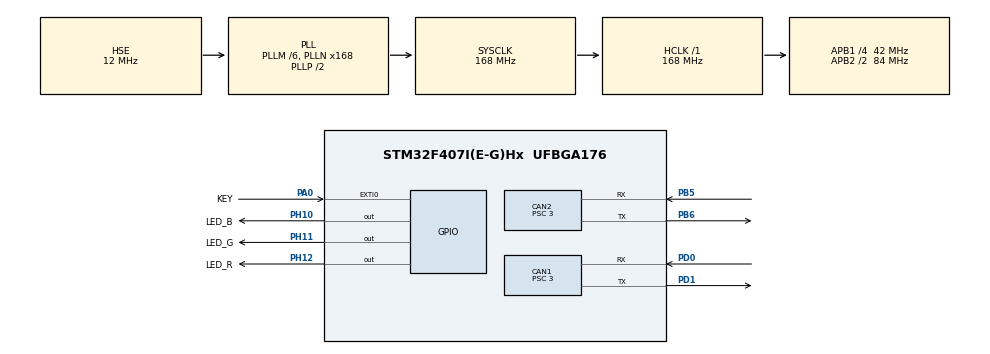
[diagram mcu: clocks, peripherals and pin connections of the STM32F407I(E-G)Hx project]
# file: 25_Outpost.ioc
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CAN1.BS1=CAN_BS1_10TQ
CAN1.BS2=CAN_BS2_3TQ
CAN1.CalculateBaudRate=1000000
CAN1.CalculateTimeBit=1000
CAN1.CalculateTimeQuantum=71.42857142857143
CAN1.Prescaler=3
CAN2.BS1=CAN_BS1_10TQ
CAN2.BS2=CAN_BS2_3TQ
CAN2.CalculateBaudRate=1000000
CAN2.CalculateTimeBit=1000
CAN2.CalculateTimeQuantum=71.42857142857143
CAN2.Prescaler=3
Mcu.Family=STM32F4
Mcu.Name=STM32F407I(E-G)Hx
Mcu.Package=UFBGA176
NVIC.CAN1_RX0_IRQn=true\:0\:0\:false\:false\:true\:true\:true\:true
NVIC.CAN2_RX0_IRQn=true\:0\:0\:false\:false\:true\:true\:true\:true
NVIC.EXTI0_IRQn=true\:0\:0\:false\:false\:true\:true\:true\:true
NVIC.PriorityGroup=NVIC_PRIORITYGROUP_4
PA0-WKUP.GPIO_Label=KEY
PA0-WKUP.GPIO_ModeDefaultEXTI=GPIO_MODE_IT_FALLING
PA0-WKUP.GPIO_PuPd=GPIO_PULLUP
PA0-WKUP.Signal=GPXTI0
PA13.Mode=Serial_Wire
PA13.Signal=SYS_JTMS-SWDIO
PA14.Mode=Serial_Wire
PA14.Signal=SYS_JTCK-SWCLK
PB5.Mode=CAN_Activate
PB5.Signal=CAN2_RX
PB6.Mode=CAN_Activate
PB6.Signal=CAN2_TX
PD0.Mode=CAN_Activate
PD0.Signal=CAN1_RX
PD1.Mode=CAN_Activate
PD1.Signal=CAN1_TX
PH0-OSC_IN.Mode=HSE-External-Oscillator
PH0-OSC_IN.Signal=RCC_OSC_IN
PH1-OSC_OUT.Mode=HSE-External-Oscillator
PH1-OSC_OUT.Signal=RCC_OSC_OUT
PH10.GPIO_Label=LED_B
PH10.Signal=GPIO_Output
PH11.GPIO_Label=LED_G
PH11.Signal=GPIO_Output
PH12.GPIO_Label=LED_R
PH12.Signal=GPIO_Output
ProjectManager.HeapSize=0x200
ProjectManager.StackSize=0x400
ProjectManager.TargetToolchain=STM32CubeIDE
RCC.48MHZClocksFreq_Value=84000000
RCC.AHBFreq_Value=168000000
RCC.APB1CLKDivider=RCC_HCLK_DIV4
RCC.APB1Freq_Value=42000000
RCC.APB1TimFreq_Value=84000000
RCC.APB2CLKDivider=RCC_HCLK_DIV2
RCC.APB2Freq_Value=84000000
RCC.APB2TimFreq_Value=168000000
RCC.CortexFreq_Value=168000000
RCC.HCLKFreq_Value=168000000
RCC.HSE_VALUE=12000000
RCC.HSI_VALUE=16000000
RCC.LSE_VALUE=32768
RCC.PLLM=6
RCC.PLLN=168
RCC.PLLSourceVirtual=RCC_PLLSOURCE_HSE
RCC.SYSCLKFreq_VALUE=168000000
RCC.SYSCLKSource=RCC_SYSCLKSOURCE_PLLCLK
RCC.VCOOutputFreq_Value=336000000
board=custom

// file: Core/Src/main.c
/* USER CODE BEGIN Header */
/**
  ******************************************************************************
  * @file           : main.c
  * @brief          : Main program body
  ******************************************************************************
  * @attention
  *
  * Copyright (c) 2025 STMicroelectronics.
  * All rights reserved.
  *
  * This software is licensed under terms that can be found in the LICENSE file
  * in the root directory of this software component.
  * If no LICENSE file comes with this software, it is provided AS-IS.
  *
  ******************************************************************************
  */
/* USER CODE END Header */
#include "main.h"
#include "can.h"
#include "gpio.h"

/* USER CODE BEGIN Includes */
#include <stdlib.h>
#include "pid.h"
#include "can.h"
#include "struct_typedef.h"
#include "bsp_can.h"
#include "CAN_receive.h"
#include "filter.h"
/* USER CODE END Includes */

/* USER CODE BEGIN PD */
#define TRUE 1
#define FALSE 0
#define CLOCKWISE 1
#define COUNTERCLOCKWISE 0
/* USER CODE END PD */

/* USER CODE BEGIN PV */
uint8_t rotateSpeed = 24; //0.8π rad/s，手册说的
bool_t rotateDirection = COUNTERCLOCKWISE; //朝哪转
bool_t rotateState = FALSE; //转没转
pid_t rotateCurrentPID;
motor_measure_t motor_measure;
int16_t give_current; //给电机的电流
int16_t speed_rpm; //给电机的转速
first_kalman_filter_t first_kalman_filter;

/* USER CODE END PV */

void SystemClock_Config(void);

int main(void)
{

  /* MCU Configuration--------------------------------------------------------*/

  /* Reset of all peripherals, Initializes the Flash interface and the Systick. */
  HAL_Init();

  /* Configure the system clock */
  SystemClock_Config();

  /* Initialize all configured peripherals */
  MX_GPIO_Init();
  MX_CAN1_Init();
  MX_CAN2_Init();
  /* USER CODE BEGIN 2 */
  can_filter_init();
  HAL_CAN_Start(&hcan1);
  HAL_CAN_ActivateNotification(&hcan1, CAN_IT_RX_FIFO0_MSG_PENDING);

  pid_init(&rotateCurrentPID, 10000, 5000, 300, 1, 5);
  first_Kalman_Create(&first_kalman_filter, 1, 10);

  /* USER CODE END 2 */

  /* Infinite loop */
  /* USER CODE BEGIN WHILE */
  while (1)
  {
      motor_measure = *get_yaw_gimbal_motor_measure_point();
      int16_t filtered_rpm;
//      filtered_rpm = motor_measure.speed_rpm;
//      first_Kalman_Filter(&first_kalman_filter, filtered_rpm);
      if(rotateState == TRUE){
          if(rotateDirection == CLOCKWISE) {
              speed_rpm = rotateSpeed;
          }else{
              speed_rpm = -rotateSpeed;
          }
          //串级PID
          give_current = pid_calc(&rotateCurrentPID, motor_measure.speed_rpm, speed_rpm);
          CAN_cmd_gimbal(give_current, give_current, give_current, give_current);
      }else{
          speed_rpm = 0;
          CAN_cmd_gimbal(0, 0, 0, 0);
          rotateCurrentPID.iout = 0;
      }

      if (rotateState == TRUE){
          if (abs(abs(motor_measure.speed_rpm) - rotateSpeed) < 3){//达到转速亮绿灯
              HAL_GPIO_WritePin(LED_R_GPIO_Port, LED_R_Pin, GPIO_PIN_RESET);
              HAL_GPIO_WritePin(LED_G_GPIO_Port, LED_G_Pin, GPIO_PIN_SET);
              HAL_GPIO_WritePin(LED_B_GPIO_Port, LED_B_Pin, GPIO_PIN_RESET);
          }else{//开始转动，未达到转速，亮黄灯
                HAL_GPIO_WritePin(LED_R_GPIO_Port, LED_R_Pin, GPIO_PIN_RESET);
                HAL_GPIO_WritePin(LED_G_GPIO_Port, LED_G_Pin, GPIO_PIN_RESET);
                HAL_GPIO_WritePin(LED_B_GPIO_Port, LED_B_Pin, GPIO_PIN_SET);
          }
      }else{//没转亮红灯
            HAL_GPIO_WritePin(LED_R_GPIO_Port, LED_R_Pin, GPIO_PIN_SET);
            HAL_GPIO_WritePin(LED_G_GPIO_Port, LED_G_Pin, GPIO_PIN_RESET);
            HAL_GPIO_WritePin(LED_B_GPIO_Port, LED_B_Pin, GPIO_PIN_RESET);
      }

      HAL_Delay(10);
    /* USER CODE END WHILE */

  }
}

void SystemClock_Config(void)
{
  RCC_OscInitTypeDef RCC_OscInitStruct = {0};
  RCC_ClkInitTypeDef RCC_ClkInitStruct = {0};

  /** Configure the main internal regulator output voltage
  */
  __HAL_RCC_PWR_CLK_ENABLE();
  __HAL_PWR_VOLTAGESCALING_CONFIG(PWR_REGULATOR_VOLTAGE_SCALE1);

  /** Initializes the RCC Oscillators according to the specified parameters
  * in the RCC_OscInitTypeDef structure.
  */
  RCC_OscInitStruct.OscillatorType = RCC_OSCILLATORTYPE_HSE;
  RCC_OscInitStruct.HSEState = RCC_HSE_ON;
  RCC_OscInitStruct.PLL.PLLState = RCC_PLL_ON;
  RCC_OscInitStruct.PLL.PLLSource = RCC_PLLSOURCE_HSE;
  RCC_OscInitStruct.PLL.PLLM = 6;
  RCC_OscInitStruct.PLL.PLLN = 168;
  RCC_OscInitStruct.PLL.PLLP = RCC_PLLP_DIV2;
  RCC_OscInitStruct.PLL.PLLQ = 4;
  if (HAL_RCC_OscConfig(&RCC_OscInitStruct) != HAL_OK)
  {
    Error_Handler();
  }

  /** Initializes the CPU, AHB and APB buses clocks
  */
  RCC_ClkInitStruct.ClockType = RCC_CLOCKTYPE_HCLK|RCC_CLOCKTYPE_SYSCLK
                              |RCC_CLOCKTYPE_PCLK1|RCC_CLOCKTYPE_PCLK2;
  RCC_ClkInitStruct.SYSCLKSource = RCC_SYSCLKSOURCE_PLLCLK;
  RCC_ClkInitStruct.AHBCLKDivider = RCC_SYSCLK_DIV1;
  RCC_ClkInitStruct.APB1CLKDivider = RCC_HCLK_DIV4;
  RCC_ClkInitStruct.APB2CLKDivider = RCC_HCLK_DIV2;

  if (HAL_RCC_ClockConfig(&RCC_ClkInitStruct, FLASH_LATENCY_5) != HAL_OK)
  {
    Error_Handler();
  }
}

/* USER CODE BEGIN 4 */
void HAL_GPIO_EXTI_Callback(uint16_t GPIO_Pin){
    if(GPIO_Pin == GPIO_PIN_0){
        rotateState = !rotateState;
        if(rotateState == TRUE){
            rotateDirection = !rotateDirection;
        }
    }
}
/* USER CODE END 4 */

void Error_Handler(void)
{
  __disable_irq();
  while (1)
  {
  }
}
